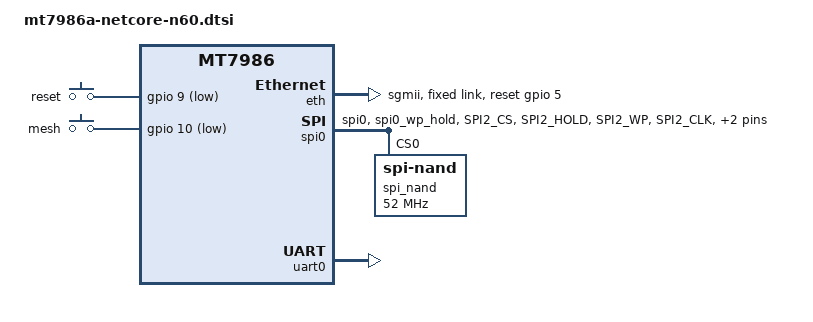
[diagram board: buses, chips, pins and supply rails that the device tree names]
// SPDX-License-Identifier: GPL-2.0

/dts-v1/;
#include "mt7986.dtsi"
#include <dt-bindings/gpio/gpio.h>

/ {
	#address-cells = <1>;
	#size-cells = <1>;

	chosen {
		stdout-path = &uart0;
		tick-timer = &timer0;
	};

	config {
		bootcmd = "mtkboardboot";
	};

	gpio-keys {
		compatible = "gpio-keys";

		button-reset {
			label = "reset";
			gpios = <&gpio 9 GPIO_ACTIVE_LOW>;
		};

		button-mesh {
			label = "mesh";
			gpios = <&gpio 10 GPIO_ACTIVE_LOW>;
		};
	};
};

&eth {
	status = "okay";
	mediatek,gmac-id = <0>;
	phy-mode = "sgmii";
	mediatek,switch = "mt7531";
	reset-gpios = <&gpio 5 GPIO_ACTIVE_HIGH>;

	fixed-link {
		speed = <1000>;
		full-duplex;
	};
};

&pinctrl {
	spi_flash_pins: spi0-pins-func-1 {
		mux {
			function = "flash";
			groups = "spi0", "spi0_wp_hold";
		};

		conf-pu {
			pins = "SPI2_CS", "SPI2_HOLD", "SPI2_WP";
			drive-strength = <MTK_DRIVE_8mA>;
			bias-pull-up = <MTK_PUPD_SET_R1R0_11>;
		};

		conf-pd {
			pins = "SPI2_CLK", "SPI2_MOSI", "SPI2_MISO";
			drive-strength = <MTK_DRIVE_8mA>;
			bias-pull-down = <MTK_PUPD_SET_R1R0_11>;
		};
	};
};

&spi0 {
	#address-cells = <1>;
	#size-cells = <0>;
	pinctrl-names = "default";
	pinctrl-0 = <&spi_flash_pins>;
	status = "okay";
	must_tx;
	enhance_timing;
	dma_ext;
	ipm_design;
	support_quad;
	tick_dly = <2>;
	sample_sel = <0>;

	spi_nand@0 {
		compatible = "spi-nand";
		reg = <0>;
		spi-max-frequency = <52000000>;
	};
};

&uart0 {
	status = "okay";
};

&watchdog {
	status = "disabled";
};
